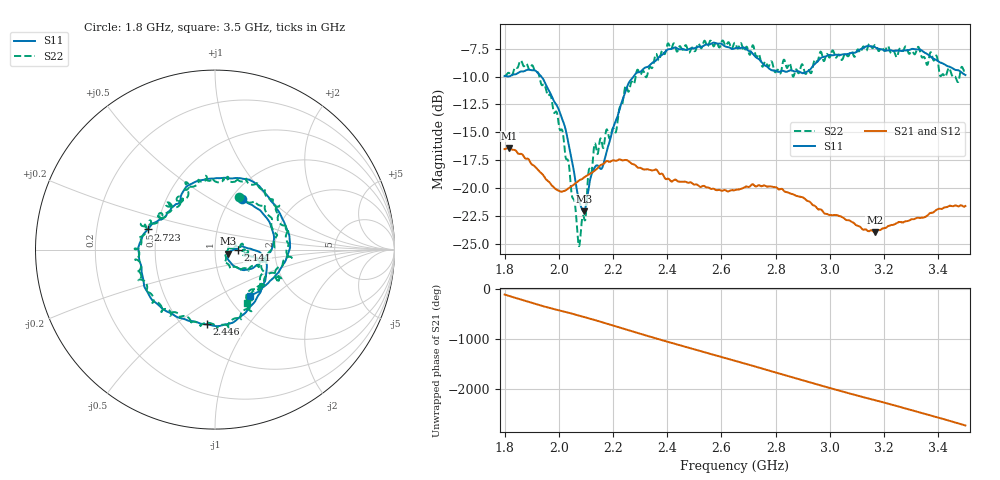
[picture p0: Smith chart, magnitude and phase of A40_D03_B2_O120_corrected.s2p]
! Created with skrf 1.9.0 (http://scikit-rf.org).
# Hz S RI R 50.0
!freq ReS11 ImS11 ReS21 ImS21 ReS12 ImS12 ReS22 ImS22
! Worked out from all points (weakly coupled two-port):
!   1601 points, 1.8 GHz to 3.5 GHz, reference 50 ohm
!   highest |S21| = -16.42 dB at 1.817 GHz (marker M1); lowest = -24.0 dB at 3.165 GHz (marker M2)
!   lowest |S11| = -22.1 dB at 2.092 GHz (marker M3), VSWR 1.17, Z = 58.1 - j2.66 ohm
!   |S11| at or under -10 dB: 1.936 GHz to 2.276 GHz (340.2 MHz wide, 16.2 % of centre)
!   |S22| runs from -25.2 to -6.8 dB; largest |S21 - S12| = 0.0025
!   S11 on the Smith chart (normalised r, x): 1.8 GHz: 1.13, +0.70; 2.141 GHz: 1.29, -0.00; 2.446 GHz: 0.65, -0.66; 2.723 GHz: 0.45, +0.12; 3.5 GHz: 1.26, -0.72
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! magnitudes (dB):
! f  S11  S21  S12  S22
! 1.8 GHz  -9.9  -16.5  -16.5  -9.9
! 1.817 GHz  -10.0  -16.4  -16.4  -9.7
! 1.903 GHz  -9.4  -17.9  -17.9  -9.0
! 1.968 GHz  -11.5  -19.6  -19.6  -11.6
! 2.015 GHz  -13.9  -20.3  -20.3  -15.0
! 2.072 GHz  -20.8  -19.4  -19.4  -25.0
! 2.084 GHz  -21.8  -19.2  -19.2  -23.2
! 2.092 GHz  -22.1  -19.1  -19.1  -22.6
! 2.112 GHz  -19.7  -18.8  -18.8  -18.3
! 2.141 GHz  -18.0  -18.3  -18.3  -16.9
! 2.162 GHz  -18.1  -17.9  -17.8  -16.4
! 2.209 GHz  -14.0  -17.6  -17.5  -15.0
! 2.26 GHz  -10.5  -17.7  -17.7  -11.2
! 2.367 GHz  -8.3  -18.6  -18.6  -8.5
! 2.446 GHz  -7.6  -19.4  -19.4  -7.3
! 2.65 GHz  -7.5  -20.2  -20.2  -7.0
! 2.723 GHz  -8.2  -19.8  -19.8  -7.8
! 2.803 GHz  -9.5  -20.0  -20.0  -9.5
! 2.934 GHz  -9.2  -21.5  -21.4  -9.5
! 3.165 GHz  -7.3  -24.0  -23.9  -7.2
! 3.217 GHz  -7.6  -23.4  -23.4  -7.4
! 3.5 GHz  -9.9  -21.6  -21.6  -9.2
